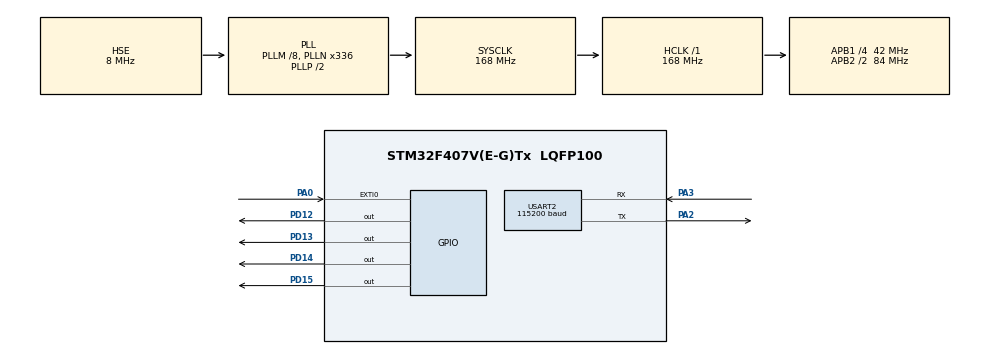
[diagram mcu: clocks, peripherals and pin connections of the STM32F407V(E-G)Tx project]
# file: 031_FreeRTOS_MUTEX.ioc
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FREERTOS.Tasks01=defaultTask,24,128,StartDefaultTask,Default,NULL,Dynamic,NULL,NULL
FREERTOS.configUSE_NEWLIB_REENTRANT=1
Mcu.Family=STM32F4
Mcu.Name=STM32F407V(E-G)Tx
Mcu.Package=LQFP100
NVIC.EXTI0_IRQn=true\:5\:0\:false\:false\:true\:true\:true\:true\:true
NVIC.PriorityGroup=NVIC_PRIORITYGROUP_4
NVIC.TIM8_TRG_COM_TIM14_IRQn=true\:15\:0\:false\:false\:true\:false\:false\:true\:true
NVIC.TimeBase=TIM8_TRG_COM_TIM14_IRQn
NVIC.TimeBaseIP=TIM14
NVIC.USART2_IRQn=true\:5\:0\:false\:false\:true\:true\:true\:true\:true
PA0-WKUP.Signal=GPXTI0
PA2.Mode=Asynchronous
PA2.Signal=USART2_TX
PA3.Mode=Asynchronous
PA3.Signal=USART2_RX
PD12.Signal=GPIO_Output
PD13.Signal=GPIO_Output
PD14.Signal=GPIO_Output
PD15.Signal=GPIO_Output
PH0-OSC_IN.Mode=HSE-External-Oscillator
PH0-OSC_IN.Signal=RCC_OSC_IN
PH1-OSC_OUT.Mode=HSE-External-Oscillator
PH1-OSC_OUT.Signal=RCC_OSC_OUT
ProjectManager.HeapSize=0x200
ProjectManager.StackSize=0x400
ProjectManager.TargetToolchain=STM32CubeIDE
RCC.48MHZClocksFreq_Value=48000000
RCC.AHBFreq_Value=168000000
RCC.APB1CLKDivider=RCC_HCLK_DIV4
RCC.APB1Freq_Value=42000000
RCC.APB1TimFreq_Value=84000000
RCC.APB2CLKDivider=RCC_HCLK_DIV2
RCC.APB2Freq_Value=84000000
RCC.APB2TimFreq_Value=168000000
RCC.CortexFreq_Value=168000000
RCC.HCLKFreq_Value=168000000
RCC.HSE_VALUE=8000000
RCC.HSI_VALUE=16000000
RCC.LSE_VALUE=32768
RCC.PLLM=8
RCC.PLLN=336
RCC.PLLQ=7
RCC.PLLSourceVirtual=RCC_PLLSOURCE_HSE
RCC.SYSCLKFreq_VALUE=168000000
RCC.SYSCLKSource=RCC_SYSCLKSOURCE_PLLCLK
RCC.VCOOutputFreq_Value=336000000
USART2.BaudRate=115200
USART2.VirtualMode=VM_ASYNC
VP_FREERTOS_VS_CMSIS_V2.Mode=CMSIS_V2
VP_SYS_VS_tim14.Mode=TIM14
board=STM32F407G-DISC1

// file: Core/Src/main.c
/* USER CODE BEGIN Header */
/**
  ******************************************************************************
  * @file           : main.c
  * @brief          : Main program body
  ******************************************************************************
  * @attention
  *
  * Copyright (c) 2023 STMicroelectronics.
  * All rights reserved.
  *
  * This software is licensed under terms that can be found in the LICENSE file
  * in the root directory of this software component.
  * If no LICENSE file comes with this software, it is provided AS-IS.
  *
  ******************************************************************************
  */
/* USER CODE END Header */
#include "main.h"

/* USER CODE BEGIN Includes */
#include "FreeRTOS.h"
#include "task.h"
#include "queue.h"
#include "semphr.h"
#include <string.h>
#include <math.h>
#include <stdlib.h>
/* USER CODE END Includes */

UART_HandleTypeDef huart2;

/* Definitions for defaultTask */

/* USER CODE BEGIN PV */
SemaphoreHandle_t xMutex = NULL;
/* USER CODE END PV */

void SystemClock_Config(void);
static void MX_GPIO_Init(void);
static void MX_USART2_UART_Init(void);

/* USER CODE BEGIN 0 */
static void prvNewPrintString(const char *pcString)
{
	// In-definite timeout values are not recommended for real application code
	xSemaphoreTake(xMutex, portMAX_DELAY);
	{
		HAL_UART_Transmit(&huart2,(uint8_t *)pcString, strlen(pcString), HAL_MAX_DELAY);
	}
	xSemaphoreGive(xMutex);
}
static void prvPrintTask(void *pvParameters)
{
	char *pcStringToPrint;
	const TickType_t xMaxBlockTimeTicks = 0x20;
	pcStringToPrint = (char *)pvParameters;

	for(;;)
	{
		prvNewPrintString(pcStringToPrint);
		vTaskDelay((rand() % xMaxBlockTimeTicks));
	}
}
/* USER CODE END 0 */

int main(void)
{

  /* MCU Configuration--------------------------------------------------------*/

  /* Reset of all peripherals, Initializes the Flash interface and the Systick. */
  HAL_Init();

  /* Configure the system clock */
  SystemClock_Config();

  /* Initialize all configured peripherals */
  MX_GPIO_Init();
  MX_USART2_UART_Init();
  /* USER CODE BEGIN 2 */
  xMutex = xSemaphoreCreateMutex();
  if(xMutex != NULL)
  {
	  xTaskCreate(prvPrintTask, "Print1", 1000, "Task-1 ***********************\r\n", 1, NULL);
	  xTaskCreate(prvPrintTask, "Print2", 1000, "Task-2 ***********************\r\n", 2, NULL);
	  vTaskStartScheduler();
  }
  /* USER CODE END 2 */

  /* Init scheduler */

  /* Create the thread(s) */
  /* creation of defaultTask */

  /* Start scheduler */

  /* We should never get here as control is now taken by the scheduler */
  /* Infinite loop */
  while (1)
  {

  }
}

void SystemClock_Config(void)
{
  RCC_OscInitTypeDef RCC_OscInitStruct = {0};
  RCC_ClkInitTypeDef RCC_ClkInitStruct = {0};

  /** Configure the main internal regulator output voltage
  */
  __HAL_RCC_PWR_CLK_ENABLE();
  __HAL_PWR_VOLTAGESCALING_CONFIG(PWR_REGULATOR_VOLTAGE_SCALE1);

  /** Initializes the RCC Oscillators according to the specified parameters
  * in the RCC_OscInitTypeDef structure.
  */
  RCC_OscInitStruct.OscillatorType = RCC_OSCILLATORTYPE_HSE;
  RCC_OscInitStruct.HSEState = RCC_HSE_ON;
  RCC_OscInitStruct.PLL.PLLState = RCC_PLL_ON;
  RCC_OscInitStruct.PLL.PLLSource = RCC_PLLSOURCE_HSE;
  RCC_OscInitStruct.PLL.PLLM = 8;
  RCC_OscInitStruct.PLL.PLLN = 336;
  RCC_OscInitStruct.PLL.PLLP = RCC_PLLP_DIV2;
  RCC_OscInitStruct.PLL.PLLQ = 7;
  if (HAL_RCC_OscConfig(&RCC_OscInitStruct) != HAL_OK)
  {
    Error_Handler();
  }

  /** Initializes the CPU, AHB and APB buses clocks
  */
  RCC_ClkInitStruct.ClockType = RCC_CLOCKTYPE_HCLK|RCC_CLOCKTYPE_SYSCLK
                              |RCC_CLOCKTYPE_PCLK1|RCC_CLOCKTYPE_PCLK2;
  RCC_ClkInitStruct.SYSCLKSource = RCC_SYSCLKSOURCE_PLLCLK;
  RCC_ClkInitStruct.AHBCLKDivider = RCC_SYSCLK_DIV1;
  RCC_ClkInitStruct.APB1CLKDivider = RCC_HCLK_DIV4;
  RCC_ClkInitStruct.APB2CLKDivider = RCC_HCLK_DIV2;

  if (HAL_RCC_ClockConfig(&RCC_ClkInitStruct, FLASH_LATENCY_5) != HAL_OK)
  {
    Error_Handler();
  }
}

static void MX_USART2_UART_Init(void)
{

  huart2.Instance = USART2;
  huart2.Init.BaudRate = 115200;
  huart2.Init.WordLength = UART_WORDLENGTH_8B;
  huart2.Init.StopBits = UART_STOPBITS_1;
  huart2.Init.Parity = UART_PARITY_NONE;
  huart2.Init.Mode = UART_MODE_TX_RX;
  huart2.Init.HwFlowCtl = UART_HWCONTROL_NONE;
  huart2.Init.OverSampling = UART_OVERSAMPLING_16;
  if (HAL_UART_Init(&huart2) != HAL_OK)
  {
    Error_Handler();
  }

}

static void MX_GPIO_Init(void)
{
  GPIO_InitTypeDef GPIO_InitStruct = {0};

  /* GPIO Ports Clock Enable */
  __HAL_RCC_GPIOH_CLK_ENABLE();
  __HAL_RCC_GPIOA_CLK_ENABLE();
  __HAL_RCC_GPIOD_CLK_ENABLE();

  /*Configure GPIO pin Output Level */
  HAL_GPIO_WritePin(GPIOD, GPIO_PIN_12|GPIO_PIN_13|GPIO_PIN_14|GPIO_PIN_15, GPIO_PIN_RESET);

  /*Configure GPIO pin : PA0 */
  GPIO_InitStruct.Pin = GPIO_PIN_0;
  GPIO_InitStruct.Mode = GPIO_MODE_IT_RISING;
  GPIO_InitStruct.Pull = GPIO_NOPULL;
  HAL_GPIO_Init(GPIOA, &GPIO_InitStruct);

  /*Configure GPIO pins : PD12 PD13 PD14 PD15 */
  GPIO_InitStruct.Pin = GPIO_PIN_12|GPIO_PIN_13|GPIO_PIN_14|GPIO_PIN_15;
  GPIO_InitStruct.Mode = GPIO_MODE_OUTPUT_PP;
  GPIO_InitStruct.Pull = GPIO_NOPULL;
  GPIO_InitStruct.Speed = GPIO_SPEED_FREQ_LOW;
  HAL_GPIO_Init(GPIOD, &GPIO_InitStruct);

  /* EXTI interrupt init*/
  HAL_NVIC_SetPriority(EXTI0_IRQn, 5, 0);
  HAL_NVIC_EnableIRQ(EXTI0_IRQn);

}

void HAL_TIM_PeriodElapsedCallback(TIM_HandleTypeDef *htim)
{
  if (htim->Instance == TIM14) {
    HAL_IncTick();
  }
}

void Error_Handler(void)
{
  __disable_irq();
  while (1)
  {
  }
}
